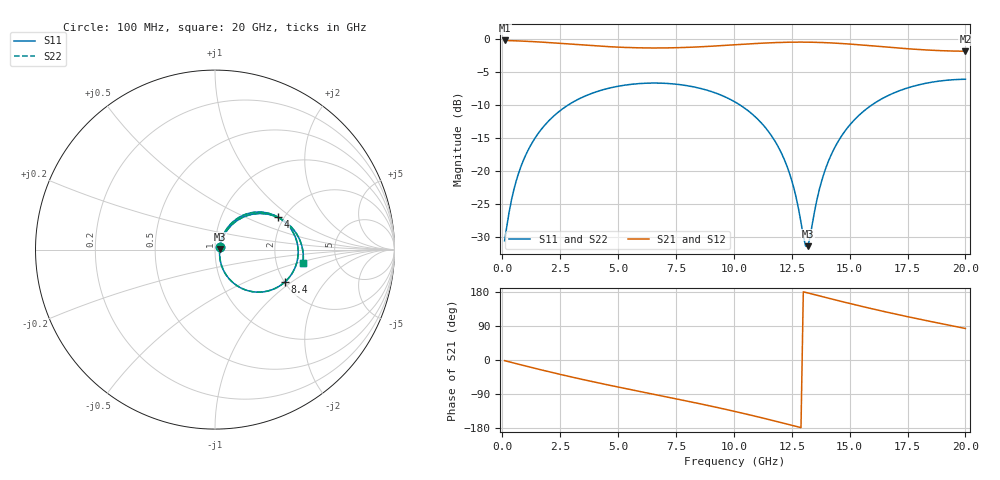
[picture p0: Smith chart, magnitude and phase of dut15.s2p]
! Touchstone file exported from HFSS 2026.1.0
!  File:  C:/ffzhzh/LocalFiles/Ansys_Project_Files/temp_test_TSV_RDL_15_1782980285_6388.aedt
!  Generated:  04:28:15 PM Jul  2, 2026
!  Design:  TSV_RDL
!  Project:  temp_test_TSV_RDL_15_1782980285_6388
! Variables:
!  h_bsmrdl = 2.85um
!  h_ox = 20um
!  h_rdl = 5um
!  h_sub = 81.66um
!  h_tmrdl = 4.93um
!  h_tsv = 81.66um
!  h_via = 3um
!  l_bsmrdl = 875.63um
!  l_sub = 4448.61um
!  l_tmrdl = 326.24um
!  m_sub = 200um
!  pitch = 39.83um
!  r_tsv = 12.02um
!  s_tmrdl = 10um
!  w_bsmrdl = 14.92um
!  w_sub = 500um
!  w_tmrdl = 24um
!  x_tsv_center1 = 338.24um
!  x_tsv_center2 = 1228.79um
!  x_tsv_center3 = 1579.03um
!  x_tsv_center4 = 2469.58um
!  x_tsv_center5 = 2819.82um
!  x_tsv_center6 = 3710.37um
# GHz S MA R 50.000000
! Terminal data exported
! Port[1] = TM_RDL1_1_T1
! Port[2] = TM_RDL5_1_T1
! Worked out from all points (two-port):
!   200 points, 100 MHz to 20 GHz, reference 50 ohm
!   highest |S21| = -0.23 dB at 100 MHz (marker M1); lowest = -1.9 dB at 20 GHz (marker M2)
!   |S21| within 3 dB of the highest: start of sweep to end of sweep
!   lowest |S11| = -31.3 dB at 13.2 GHz (marker M3), VSWR 1.06, Z = 52.8 + j0.378 ohm
!   |S11| at or under -10 dB: start of sweep to 2.842 GHz; 10.27 GHz to 15.95 GHz (5.683 GHz wide, 43.3 % of centre)
!   |S22| runs from -31.3 to -6.1 dB; largest |S21 - S12| = 3.8e-14
!   S11 on the Smith chart (normalised r, x): 100 MHz: 1.05, +0.03; 4 GHz: 1.86, +0.80; 8.4 GHz: 2.01, -0.89; 20 GHz: 2.85, -0.54
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0.1  0.02981 26.7  0.9737 -1.7  0.9737 -1.7  0.02981 26.7
! Gamma 0 0 0 0
! Port Impedance 50 0 50 0
0.3  0.0496 50.9  0.9714 -4.9  0.9714 -4.9  0.0496 50.9
0.6  0.08432 59.8  0.9672 -9.6  0.9672 -9.6  0.08432 59.8
1.2  0.154 59.4  0.9568 -18.8  0.9568 -18.8  0.154 59.4
2.2  0.2593 49.2  0.9334 -33.6  0.9334 -33.6  0.2593 49.2
3.5  0.365 33.3  0.8985 -51.8  0.8985 -51.8  0.365 33.3
4  0.3952 27.2  0.8863 -58.5  0.8863 -58.5  0.3952 27.2
6.8  0.4634 -6.0  0.8542 -93.6  0.8542 -93.6  0.4634 -6.0
8.4  0.4289 -24.9  0.8693 -113.7  0.8693 -113.7  0.4289 -24.9
10.1  0.33 -45.9  0.9044 -136.5  0.9044 -136.5  0.3299 -45.8
11.2  0.2305 -59.2  0.9284 -152.4  0.9284 -152.4  0.2305 -59.2
12  0.1433 -66.9  0.9409 -164.5  0.9409 -164.5  0.1433 -66.9
12.5  0.08517 -67.0  0.9451 -172.2  0.9451 -172.2  0.08519 -66.8
13.1  0.02717 -17.7  0.9455 178.4  0.9455 178.4  0.02733 -17.5
13.2  0.02713 7.6  0.9451 176.9  0.9451 176.9  0.0273 7.6
13.4  0.04096 41.2  0.9438 173.7  0.9438 173.7  0.04109 41.0
13.9  0.09714 58.0  0.938 166.0  0.938 166.0  0.09721 58.0
14.5  0.1674 55.8  0.9268 156.7  0.9268 156.7  0.1674 55.8
15.4  0.2642 46.2  0.9035 143.3  0.9035 143.3  0.2643 46.2
16.7  0.3759 30.3  0.8648 125.0  0.8648 125.0  0.3759 30.3
18.4  0.4659 9.9  0.8235 102.9  0.8235 102.9  0.4659 9.9
20  0.4956 -8.4  0.8072 83.2  0.8072 83.2  0.4956 -8.4
